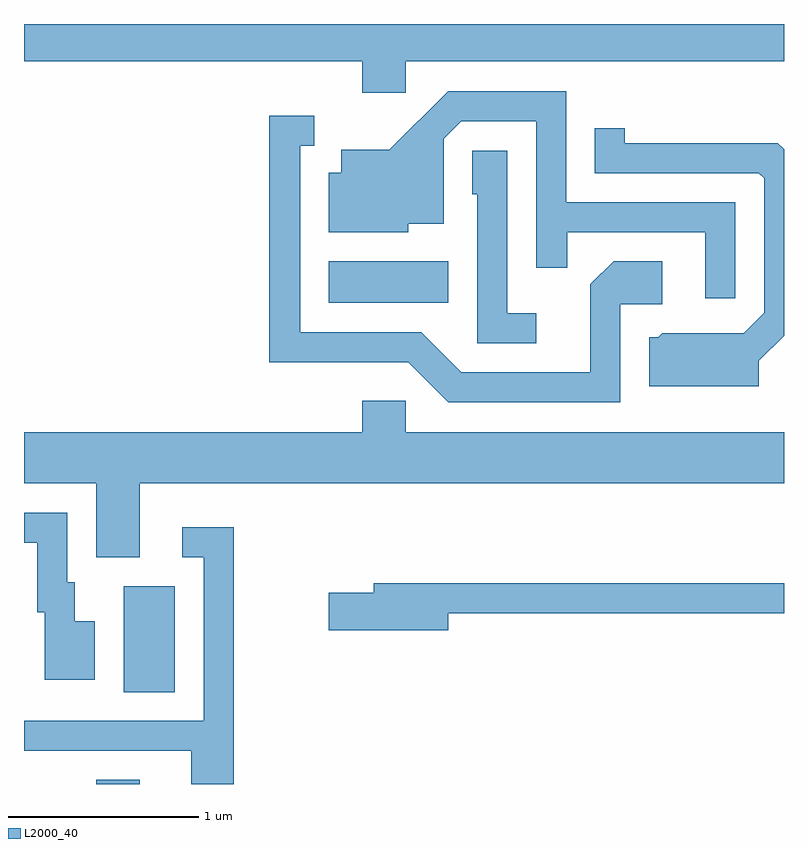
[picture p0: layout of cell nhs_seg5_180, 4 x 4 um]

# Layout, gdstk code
import gdstk
lib = gdstk.Library(unit=1e-6, precision=1e-09)
def R(c, l, rs):  # rectangles x0, y0, x1, y1
    for r in rs: c.add(gdstk.rectangle(r[:2], r[2:], *l))
def P(c, l, *ps):  # polygons
    for p in ps: c.add(gdstk.Polygon(p, *l))
L2000_40 = (2000, 40)

nhs_seg5_180 = lib.new_cell('nhs_seg5_180')
R(nhs_seg5_180, L2000_40, [(189.991,1484.072,190.219,1484.094), (190.136,1484.556,190.404,1485.114), (191.216,1486.606,191.844,1486.824)])
P(nhs_seg5_180, L2000_40, [(191.619,1487.876),(193.611,1487.876),(193.611,1488.072),(189.611,1488.072),(189.611,1487.876),(191.391,1487.876),(191.391,1487.711),(191.619,1487.711)],
  [(193.354,1487.134),(192.464,1487.134),(192.464,1487.719),(191.844,1487.719),(191.534,1487.409),(191.281,1487.409),(191.281,1487.289),(191.216,1487.289),(191.216,1486.976),(191.634,1486.976),(191.634,1487.021),(191.819,1487.021),(191.819,1487.469),(191.912,1487.561),(192.306,1487.561),(192.306,1486.788),(192.469,1486.788),(192.469,1486.976),(193.196,1486.976),(193.196,1486.628),(193.354,1486.628)],
  [(192.749,1486.596),(192.969,1486.596),(192.969,1486.824),(192.714,1486.824),(192.591,1486.702),(192.591,1486.239),(191.912,1486.239),(191.702,1486.449),(191.064,1486.449),(191.064,1487.431),(191.138,1487.431),(191.138,1487.589),(190.901,1487.589),(190.901,1486.291),(191.634,1486.291),(191.844,1486.081),(192.749,1486.081)],
  [(193.479,1486.299),(193.611,1486.431),(193.611,1487.412),(193.579,1487.444),(192.774,1487.444),(192.774,1487.523),(192.616,1487.523),(192.616,1487.286),(193.479,1487.286),(193.506,1487.259),(193.506,1486.552),(193.399,1486.444),(192.969,1486.444),(192.949,1486.424),(192.901,1486.424),(192.901,1486.166),(193.479,1486.166)],
  [(192.308,1486.549),(192.154,1486.549),(192.154,1487.404),(191.971,1487.404),(191.971,1487.176),(191.996,1487.176),(191.996,1486.391),(192.308,1486.391)],
  [(190.219,1485.656),(193.611,1485.656),(193.611,1485.924),(191.619,1485.924),(191.619,1486.089),(191.391,1486.089),(191.391,1485.924),(189.611,1485.924),(189.611,1485.656),(189.991,1485.656),(189.991,1485.266),(190.219,1485.266)],
  [(189.984,1484.929),(189.879,1484.929),(189.879,1485.134),(189.839,1485.134),(189.839,1485.499),(189.611,1485.499),(189.611,1485.341),(189.681,1485.341),(189.681,1484.976),(189.721,1484.976),(189.721,1484.621),(189.984,1484.621)],
  [(190.714,1485.424),(190.443,1485.424),(190.443,1485.266),(190.556,1485.266),(190.556,1484.404),(189.611,1484.404),(189.611,1484.246),(190.491,1484.246),(190.491,1484.072),(190.714,1484.072)],
  [(191.844,1484.971),(193.611,1484.971),(193.611,1485.129),(191.451,1485.129),(191.451,1485.079),(191.216,1485.079),(191.216,1484.881),(191.844,1484.881)])

lib.write_gds('nhs_seg5_180.gds')
